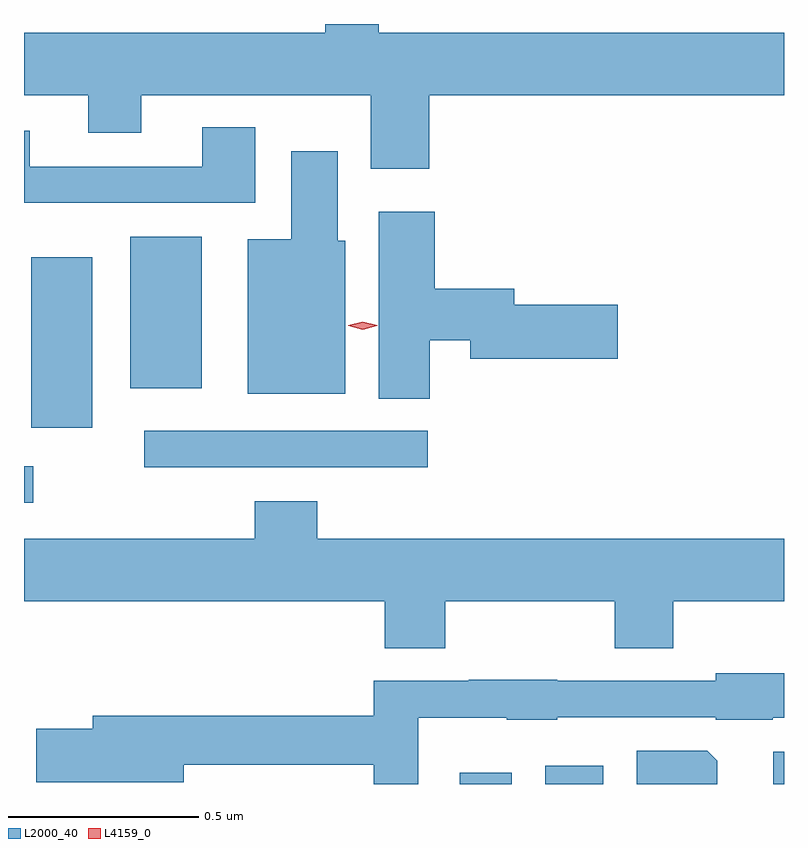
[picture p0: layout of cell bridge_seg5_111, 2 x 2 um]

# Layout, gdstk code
import gdstk
lib = gdstk.Library(unit=1e-6, precision=1e-09)
def R(c, l, rs):  # rectangles x0, y0, x1, y1
    for r in rs: c.add(gdstk.rectangle(r[:2], r[2:], *l))
def P(c, l, *ps):  # polygons
    for p in ps: c.add(gdstk.Polygon(p, *l))
L2000_40 = (2000, 40)
L4159_0 = (4159, 0)

bridge_seg5_111 = lib.new_cell('bridge_seg5_111')
R(bridge_seg5_111, L2000_40, [(406.433,837.631,406.57,837.661), (406.658,837.631,406.81,837.679), (407.258,837.631,407.286,837.716), (405.286,838.371,405.31,838.467), (405.603,838.464,406.348,838.56), (405.305,838.569,405.466,839.017), (405.566,838.673,405.754,839.071)])
P(bridge_seg5_111, L2000_40, [(406.352,839.444),(407.286,839.444),(407.286,839.608),(406.219,839.608),(406.219,839.631),(406.079,839.631),(406.079,839.608),(405.286,839.608),(405.286,839.444),(405.455,839.444),(405.455,839.345),(405.595,839.345),(405.595,839.444),(406.199,839.444),(406.199,839.25),(406.352,839.25)],
  [(405.895,839.359),(405.755,839.359),(405.755,839.256),(405.301,839.256),(405.301,839.35),(405.286,839.35),(405.286,839.16),(405.895,839.16)],
  [(406.132,839.061),(406.111,839.061),(406.111,839.296),(405.989,839.296),(405.989,839.065),(405.875,839.065),(405.875,838.658),(406.132,838.658)],
  [(406.354,838.799),(406.46,838.799),(406.46,838.75),(406.849,838.75),(406.849,838.892),(406.576,838.892),(406.576,838.934),(406.367,838.934),(406.367,839.137),(406.22,839.137),(406.22,838.645),(406.354,838.645)],
  [(406.395,838.112),(406.84,838.112),(406.84,837.988),(406.995,837.988),(406.995,838.112),(407.286,838.112),(407.286,838.276),(406.058,838.276),(406.058,838.375),(405.893,838.375),(405.893,838.276),(405.286,838.276),(405.286,838.112),(406.235,838.112),(406.235,837.988),(406.395,837.988)],
  [(406.323,837.806),(406.557,837.806),(406.557,837.8),(406.689,837.8),(406.689,837.807),(407.106,837.807),(407.106,837.8),(407.256,837.8),(407.256,837.806),(407.286,837.806),(407.286,837.922),(407.106,837.922),(407.106,837.903),(406.689,837.903),(406.689,837.905),(406.457,837.905),(406.457,837.903),(406.207,837.903),(406.207,837.811),(405.467,837.811),(405.467,837.777),(405.318,837.777),(405.318,837.635),(405.706,837.635),(405.706,837.682),(406.207,837.682),(406.207,837.631),(406.323,837.631)],
  [(407.11,837.692),(407.084,837.718),(406.898,837.718),(406.898,837.631),(407.11,837.631)])
P(bridge_seg5_111, L4159_0, [(406.177,838.827),(406.139,838.837),(406.139,838.837),(406.139,838.838),(406.177,838.847),(406.215,838.838),(406.215,838.837),(406.215,838.837)])

lib.write_gds('bridge_seg5_111.gds')
